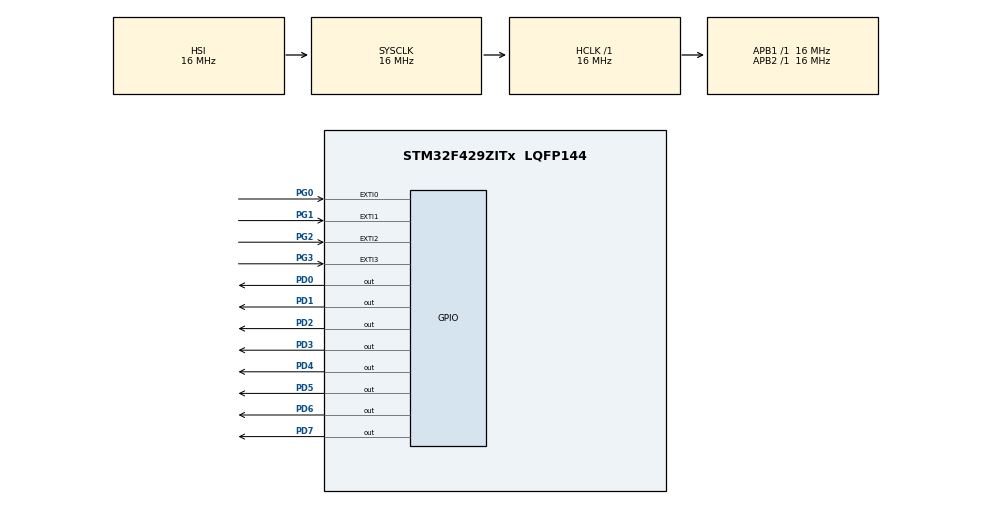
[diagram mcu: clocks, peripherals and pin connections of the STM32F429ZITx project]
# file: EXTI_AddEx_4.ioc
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Mcu.Family=STM32F4
Mcu.Name=STM32F429ZITx
Mcu.Package=LQFP144
NVIC.EXTI0_IRQn=true\:0\:0\:false\:false\:true\:true\:true\:true
NVIC.EXTI1_IRQn=true\:0\:0\:false\:false\:true\:true\:true\:true
NVIC.EXTI2_IRQn=true\:0\:0\:false\:false\:true\:true\:true\:true
NVIC.EXTI3_IRQn=true\:0\:0\:false\:false\:true\:true\:true\:true
NVIC.PriorityGroup=NVIC_PRIORITYGROUP_4
PD0.GPIO_ModeDefaultOutputPP=GPIO_MODE_OUTPUT_PP
PD0.GPIO_PuPd=GPIO_PULLUP
PD0.GPIO_Speed=GPIO_SPEED_FREQ_HIGH
PD0.PinState=GPIO_PIN_RESET
PD0.Signal=GPIO_Output
PD1.GPIO_ModeDefaultOutputPP=GPIO_MODE_OUTPUT_PP
PD1.GPIO_PuPd=GPIO_PULLUP
PD1.GPIO_Speed=GPIO_SPEED_FREQ_HIGH
PD1.PinState=GPIO_PIN_RESET
PD1.Signal=GPIO_Output
PD2.GPIO_ModeDefaultOutputPP=GPIO_MODE_OUTPUT_PP
PD2.GPIO_PuPd=GPIO_PULLUP
PD2.GPIO_Speed=GPIO_SPEED_FREQ_HIGH
PD2.PinState=GPIO_PIN_RESET
PD2.Signal=GPIO_Output
PD3.GPIO_ModeDefaultOutputPP=GPIO_MODE_OUTPUT_PP
PD3.GPIO_PuPd=GPIO_PULLUP
PD3.GPIO_Speed=GPIO_SPEED_FREQ_HIGH
PD3.PinState=GPIO_PIN_RESET
PD3.Signal=GPIO_Output
PD4.GPIO_ModeDefaultOutputPP=GPIO_MODE_OUTPUT_PP
PD4.GPIO_PuPd=GPIO_PULLUP
PD4.GPIO_Speed=GPIO_SPEED_FREQ_HIGH
PD4.PinState=GPIO_PIN_RESET
PD4.Signal=GPIO_Output
PD5.GPIO_ModeDefaultOutputPP=GPIO_MODE_OUTPUT_PP
PD5.GPIO_PuPd=GPIO_PULLUP
PD5.GPIO_Speed=GPIO_SPEED_FREQ_HIGH
PD5.PinState=GPIO_PIN_RESET
PD5.Signal=GPIO_Output
PD6.GPIO_ModeDefaultOutputPP=GPIO_MODE_OUTPUT_PP
PD6.GPIO_PuPd=GPIO_PULLUP
PD6.GPIO_Speed=GPIO_SPEED_FREQ_HIGH
PD6.PinState=GPIO_PIN_RESET
PD6.Signal=GPIO_Output
PD7.GPIO_ModeDefaultOutputPP=GPIO_MODE_OUTPUT_PP
PD7.GPIO_PuPd=GPIO_PULLUP
PD7.GPIO_Speed=GPIO_SPEED_FREQ_HIGH
PD7.PinState=GPIO_PIN_RESET
PD7.Signal=GPIO_Output
PG0.GPIO_ModeDefaultEXTI=GPIO_MODE_IT_FALLING
PG0.GPIO_PuPd=GPIO_NOPULL
PG0.Signal=GPXTI0
PG1.GPIO_ModeDefaultEXTI=GPIO_MODE_IT_FALLING
PG1.GPIO_PuPd=GPIO_NOPULL
PG1.Signal=GPXTI1
PG2.GPIO_ModeDefaultEXTI=GPIO_MODE_IT_RISING
PG2.GPIO_PuPd=GPIO_NOPULL
PG2.Signal=GPXTI2
PG3.GPIO_ModeDefaultEXTI=GPIO_MODE_IT_RISING
PG3.GPIO_PuPd=GPIO_NOPULL
PG3.Signal=GPXTI3
ProjectManager.HeapSize=0x200
ProjectManager.StackSize=0x400
ProjectManager.TargetToolchain=STM32CubeIDE
RCC.AHBFreq_Value=16000000
RCC.APB1Freq_Value=16000000
RCC.APB2Freq_Value=16000000
RCC.CortexFreq_Value=16000000
RCC.HSE_VALUE=25000000
RCC.HSI_VALUE=16000000
RCC.LSE_VALUE=32768
RCC.SYSCLKFreq_VALUE=16000000
RCC.VCOOutputFreq_Value=192000000
board=custom

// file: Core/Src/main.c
/* USER CODE BEGIN Header */
/**
  ******************************************************************************
  * @file           : main.c
  * @brief          : Main program body
  ******************************************************************************
  * @attention
  *
  * Copyright (c) 2023 STMicroelectronics.
  * All rights reserved.
  *
  * This software is licensed under terms that can be found in the LICENSE file
  * in the root directory of this software component.
  * If no LICENSE file comes with this software, it is provided AS-IS.
  *
  ******************************************************************************
  */
/* USER CODE END Header */
#include "main.h"

/* USER CODE BEGIN PV */
int flag_SW1 = 0, flag_SW2 = 0, flag_SW3 = 0, flag_SW4 = 0;
int speed = 0;
/* USER CODE END PV */

void SystemClock_Config(void);
static void MX_GPIO_Init(void);
/* USER CODE BEGIN PFP */
void LED_OnOff(int, int);
/* USER CODE END PFP */

int main(void)
{
  /* USER CODE BEGIN 1 */

	uint16_t led = 0x01;

  /* USER CODE END 1 */

  /* MCU Configuration--------------------------------------------------------*/

  /* Reset of all peripherals, Initializes the Flash interface and the Systick. */
  HAL_Init();

  /* Configure the system clock */
  SystemClock_Config();

  /* Initialize all configured peripherals */
  MX_GPIO_Init();
  /* USER CODE BEGIN 2 */

  LED_OnOff(LED_ALL, 500);

  /* USER CODE END 2 */

  /* Infinite loop */
  /* USER CODE BEGIN WHILE */
  while (1)
  {

	  if ( flag_SW1 == 1 ) {
		  led <<= 1;
		  if ( led > 0x80 ) led = 0x01;
	  	  LED_OnOff(led, 100+(speed*5));
	  }
	  else if ( flag_SW2 == 1 ) {
		  led <<= 1;
	  	  if ( led > 0x80 ) led = 0x01;
	  	  LED_OnOff(led, 100+(speed*5));
	  }
	  else if ( flag_SW3 == 1 ) {
		  led >>= 1;
	  	  if ( led < 0x01 ) led = 0x80;
	  	  LED_OnOff(led, 100+(speed*5));
	  }
	  else if ( flag_SW4 == 1 ) {
		  led >>= 1;
	  	  if ( led < 0x01 ) led = 0x80;
	  	  LED_OnOff(led, 100+(speed*5));
	  }

    /* USER CODE END WHILE */

  }
}

void SystemClock_Config(void)
{
  RCC_OscInitTypeDef RCC_OscInitStruct = {0};
  RCC_ClkInitTypeDef RCC_ClkInitStruct = {0};

  /** Configure the main internal regulator output voltage
  */
  __HAL_RCC_PWR_CLK_ENABLE();
  __HAL_PWR_VOLTAGESCALING_CONFIG(PWR_REGULATOR_VOLTAGE_SCALE3);

  /** Initializes the RCC Oscillators according to the specified parameters
  * in the RCC_OscInitTypeDef structure.
  */
  RCC_OscInitStruct.OscillatorType = RCC_OSCILLATORTYPE_HSI;
  RCC_OscInitStruct.HSIState = RCC_HSI_ON;
  RCC_OscInitStruct.HSICalibrationValue = RCC_HSICALIBRATION_DEFAULT;
  RCC_OscInitStruct.PLL.PLLState = RCC_PLL_NONE;
  if (HAL_RCC_OscConfig(&RCC_OscInitStruct) != HAL_OK)
  {
    Error_Handler();
  }

  /** Initializes the CPU, AHB and APB buses clocks
  */
  RCC_ClkInitStruct.ClockType = RCC_CLOCKTYPE_HCLK|RCC_CLOCKTYPE_SYSCLK
                              |RCC_CLOCKTYPE_PCLK1|RCC_CLOCKTYPE_PCLK2;
  RCC_ClkInitStruct.SYSCLKSource = RCC_SYSCLKSOURCE_HSI;
  RCC_ClkInitStruct.AHBCLKDivider = RCC_SYSCLK_DIV1;
  RCC_ClkInitStruct.APB1CLKDivider = RCC_HCLK_DIV1;
  RCC_ClkInitStruct.APB2CLKDivider = RCC_HCLK_DIV1;

  if (HAL_RCC_ClockConfig(&RCC_ClkInitStruct, FLASH_LATENCY_0) != HAL_OK)
  {
    Error_Handler();
  }
}

static void MX_GPIO_Init(void)
{
  GPIO_InitTypeDef GPIO_InitStruct = {0};

  /* GPIO Ports Clock Enable */
  __HAL_RCC_GPIOG_CLK_ENABLE();
  __HAL_RCC_GPIOD_CLK_ENABLE();

  /*Configure GPIO pin Output Level */
  HAL_GPIO_WritePin(GPIOD, GPIO_PIN_0|GPIO_PIN_1|GPIO_PIN_2|GPIO_PIN_3
                          |GPIO_PIN_4|GPIO_PIN_5|GPIO_PIN_6|GPIO_PIN_7, GPIO_PIN_RESET);

  /*Configure GPIO pins : PG0 PG1 */
  GPIO_InitStruct.Pin = GPIO_PIN_0|GPIO_PIN_1;
  GPIO_InitStruct.Mode = GPIO_MODE_IT_FALLING;
  GPIO_InitStruct.Pull = GPIO_NOPULL;
  HAL_GPIO_Init(GPIOG, &GPIO_InitStruct);

  /*Configure GPIO pins : PG2 PG3 */
  GPIO_InitStruct.Pin = GPIO_PIN_2|GPIO_PIN_3;
  GPIO_InitStruct.Mode = GPIO_MODE_IT_RISING;
  GPIO_InitStruct.Pull = GPIO_NOPULL;
  HAL_GPIO_Init(GPIOG, &GPIO_InitStruct);

  /*Configure GPIO pins : PD0 PD1 PD2 PD3
                           PD4 PD5 PD6 PD7 */
  GPIO_InitStruct.Pin = GPIO_PIN_0|GPIO_PIN_1|GPIO_PIN_2|GPIO_PIN_3
                          |GPIO_PIN_4|GPIO_PIN_5|GPIO_PIN_6|GPIO_PIN_7;
  GPIO_InitStruct.Mode = GPIO_MODE_OUTPUT_PP;
  GPIO_InitStruct.Pull = GPIO_PULLUP;
  GPIO_InitStruct.Speed = GPIO_SPEED_FREQ_HIGH;
  HAL_GPIO_Init(GPIOD, &GPIO_InitStruct);

  /* EXTI interrupt init*/
  HAL_NVIC_SetPriority(EXTI0_IRQn, 0, 0);
  HAL_NVIC_EnableIRQ(EXTI0_IRQn);

  HAL_NVIC_SetPriority(EXTI1_IRQn, 0, 0);
  HAL_NVIC_EnableIRQ(EXTI1_IRQn);

  HAL_NVIC_SetPriority(EXTI2_IRQn, 0, 0);
  HAL_NVIC_EnableIRQ(EXTI2_IRQn);

  HAL_NVIC_SetPriority(EXTI3_IRQn, 0, 0);
  HAL_NVIC_EnableIRQ(EXTI3_IRQn);

}

/* USER CODE BEGIN 4 */

void LED_OnOff(int led, int interval)
{
	HAL_GPIO_WritePin(GPIO_LED, led, GPIO_PIN_SET );
	HAL_GPIO_WritePin(GPIO_LED_Nucleo, led, GPIO_PIN_SET );
	HAL_Delay(interval);
	HAL_GPIO_WritePin(GPIO_LED, led, GPIO_PIN_RESET );
	HAL_GPIO_WritePin(GPIO_LED_Nucleo, led, GPIO_PIN_RESET );
}
void HAL_GPIO_EXTI_Callback(uint16_t GPIO_PIN)
{
	if ( GPIO_PIN == SW1) {
		flag_SW1 = 1, flag_SW2 = 0, flag_SW3 = 0, flag_SW4 = 0;

		speed--;

	}
	if ( GPIO_PIN == SW2) {
		flag_SW1 = 0, flag_SW2 = 1, flag_SW3 = 0, flag_SW4 = 0;

		speed++;
	}
	if ( GPIO_PIN == SW3) {
		flag_SW1 = 0, flag_SW2 = 0, flag_SW3 = 1, flag_SW4 = 0;

		speed--;

	}
	if ( GPIO_PIN == SW4) {
		flag_SW1 = 0, flag_SW2 = 0, flag_SW3 = 0, flag_SW4 = 1;

		speed++;

	}
}

/* USER CODE END 4 */

void Error_Handler(void)
{
  __disable_irq();
  while (1)
  {
  }
}
